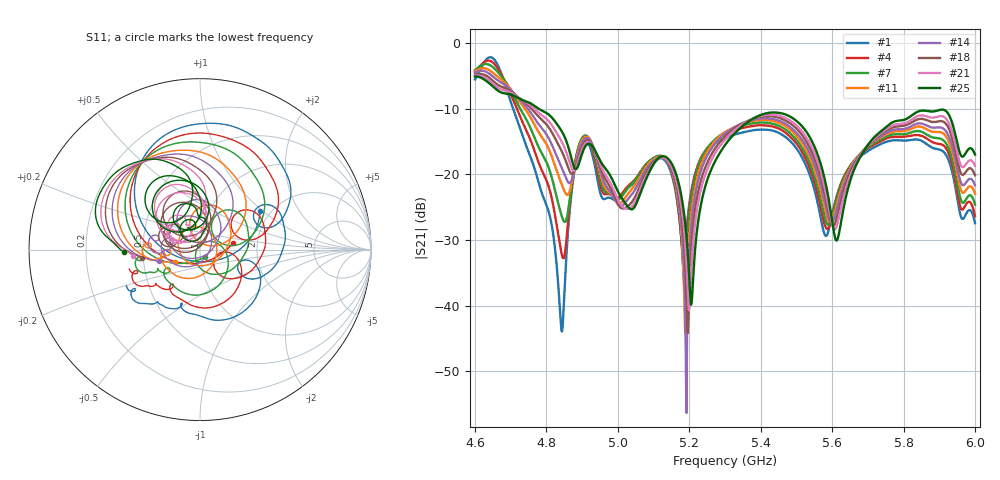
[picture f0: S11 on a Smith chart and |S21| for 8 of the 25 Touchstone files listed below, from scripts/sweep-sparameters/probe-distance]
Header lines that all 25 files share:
! TOUCHSTONE file generated by CST MICROWAVE STUDIO
! Project name: test_tuning.cst
! Header version: 2024
! Port assignment regex: !\s*Touchstone port\s*([0-9]+)\s*=\s*(CST MWS port|CST DES external port|CST DES block port)\s*(.+)\s* \(\"(.*)\"\)(\s*mode\s*([0-9]+))?.*
! Touchstone port assignment:
! Touchstone port 1 = CST MWS port 1 ("Input1")
! Touchstone port 2 = CST MWS port 2 ("Input2")
# GHz S MA R 50
Fixed: airCoaxOuterDiameter = 3, chamferAngle = 45, chamferWidth = 24, connectorLength = 10, drillingHoleDiameter = 4.1, feedLength = 60, flareDiameter = 130, flareLength = 70, gratingDistance = 0, gratingGap = 1.90274, outletLength = 30, polarizerLength = 134, probe1Diameter = 1.3, probe1Length = 12, probe2Diameter = 1.3, probe2Distance = 0, probe2Length = 12, probeLength = 12, smaInnerDiameter = 1.3, smaOuterDiameter = 4.1, transitionCoefficient = 1.33, waveguideFeedLength = 30, waveguideSide = 50, waveguideThickness = 3, wireCount = 25, wireDiameter = 1.17699
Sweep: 4.6 GHz to 6 GHz
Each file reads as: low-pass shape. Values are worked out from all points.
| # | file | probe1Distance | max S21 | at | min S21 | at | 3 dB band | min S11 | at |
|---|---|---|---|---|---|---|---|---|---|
| 1 | probe_distance_1.s2p | 8 | -2.17 dB | 4.642 GHz | -44.0 dB | 4.844 GHz | 4.606 GHz-4.677 GHz | -22.9 dB | 4.636 GHz |
| 2 | probe_distance_2.s2p | 8.5 | -2.33 dB | 4.641 GHz | -39.0 dB | 4.845 GHz | 4.6 GHz-4.678 GHz | -22.2 dB | 4.632 GHz |
| 3 | probe_distance_3.s2p | 9 | -2.50 dB | 4.639 GHz | -35.5 dB | 4.846 GHz | 4.6 GHz-4.68 GHz | -22.1 dB | 4.627 GHz |
| 4 | probe_distance_4.s2p | 9.5 | -2.68 dB | 4.638 GHz | -33.4 dB | 5.185 GHz | 4.6 GHz-4.681 GHz | -22.4 dB | 4.621 GHz |
| 5 | probe_distance_5.s2p | 10 | -2.85 dB | 4.635 GHz | -34.3 dB | 5.185 GHz | 4.6 GHz-4.684 GHz | -24.7 dB | 5.182 GHz |
| 6 | probe_distance_6.s2p | 10.5 | -3.02 dB | 4.632 GHz | -35.3 dB | 5.187 GHz | 4.6 GHz-4.685 GHz | -34.0 dB | 5.182 GHz |
| 7 | probe_distance_7.s2p | 11 | -3.20 dB | 4.631 GHz | -36.6 dB | 5.187 GHz | 4.6 GHz-4.688 GHz | -35.7 dB | 5.182 GHz |
| 8 | probe_distance_8.s2p | 11.5 | -3.37 dB | 4.629 GHz | -38.0 dB | 5.187 GHz | 4.6 GHz-4.691 GHz | -25.9 dB | 5.181 GHz |
| 9 | probe_distance_9.s2p | 12 | -3.53 dB | 4.627 GHz | -39.6 dB | 5.188 GHz | 4.6 GHz-4.692 GHz | -24.0 dB | 4.898 GHz |
| 10 | probe_distance_10.s2p | 12.5 | -3.68 dB | 4.625 GHz | -41.7 dB | 5.188 GHz | 4.6 GHz-4.695 GHz | -26.5 dB | 4.895 GHz |
| 11 | probe_distance_11.s2p | 13 | -3.83 dB | 4.624 GHz | -44.3 dB | 5.189 GHz | 4.6 GHz-4.697 GHz | -28.6 dB | 4.893 GHz |
| 12 | probe_distance_12.s2p | 13.5 | -3.97 dB | 4.622 GHz | -47.2 dB | 5.189 GHz | 4.6 GHz-4.698 GHz | -29.6 dB | 4.89 GHz |
| 13 | probe_distance_13.s2p | 14 | -4.12 dB | 4.621 GHz | -53.6 dB | 5.191 GHz | 4.6 GHz-4.699 GHz | -29.3 dB | 4.887 GHz |
| 14 | probe_distance_14.s2p | 14.5 | -4.24 dB | 4.62 GHz | -56.4 dB | 5.192 GHz | 4.6 GHz-4.701 GHz | -27.9 dB | 4.884 GHz |
| 15 | probe_distance_15.s2p | 15 | -4.38 dB | 4.618 GHz | -53.8 dB | 5.192 GHz | 4.6 GHz-4.704 GHz | -32.5 dB | 5.077 GHz |
| 16 | probe_distance_16.s2p | 15.5 | -4.51 dB | 4.617 GHz | -50.2 dB | 5.194 GHz | 4.6 GHz-4.705 GHz | -47.5 dB | 5.077 GHz |
| 17 | probe_distance_17.s2p | 16 | -4.62 dB | 4.615 GHz | -46.6 dB | 5.195 GHz | 4.6 GHz-4.706 GHz | -49.3 dB | 5.369 GHz |
| 18 | probe_distance_18.s2p | 16.5 | -4.73 dB | 4.613 GHz | -44.1 dB | 5.196 GHz | 4.6 GHz-4.708 GHz | -37.7 dB | 5.377 GHz |
| 19 | probe_distance_19.s2p | 17 | -4.82 dB | 4.608 GHz | -42.5 dB | 5.196 GHz | 4.6 GHz-4.709 GHz | -30.6 dB | 5.385 GHz |
| 20 | probe_distance_20.s2p | 17.5 | -4.90 dB | 4.603 GHz | -41.5 dB | 5.198 GHz | 4.6 GHz-4.711 GHz | -26.8 dB | 5.394 GHz |
| 21 | probe_distance_21.s2p | 18 | -4.95 dB | 4.6 GHz | -40.7 dB | 5.199 GHz | 4.6 GHz-4.711 GHz | -24.2 dB | 5.404 GHz |
| 22 | probe_distance_22.s2p | 18.5 | -4.99 dB | 4.6 GHz | -40.2 dB | 5.201 GHz | 4.6 GHz-4.711 GHz | -22.2 dB | 5.411 GHz |
| 23 | probe_distance_23.s2p | 19 | -5.03 dB | 4.6 GHz | -39.8 dB | 5.202 GHz | 4.6 GHz-4.711 GHz | -22.4 dB | 5.899 GHz |
| 24 | probe_distance_24.s2p | 19.5 | -5.07 dB | 4.6 GHz | -39.7 dB | 5.203 GHz | 4.6 GHz-4.711 GHz | -23.6 dB | 5.903 GHz |
| 25 | probe_distance_25.s2p | 20 | -5.10 dB | 4.6 GHz | -39.9 dB | 5.205 GHz | 4.6 GHz-4.711 GHz | -24.7 dB | 5.909 GHz |
